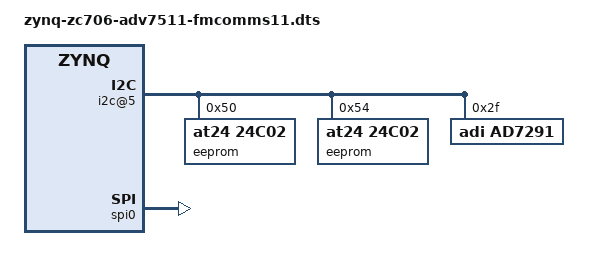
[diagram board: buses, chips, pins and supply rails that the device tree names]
// SPDX-License-Identifier: GPL-2.0
/*
 * Analog Devices AD-FMCOMMS11-EBZ
 * https://wiki.analog.com/resources/tools-software/linux-drivers/iio-transceiver/ad9361
 * https://wiki.analog.com/resources/eval/user-guides/ad-fmcomms11-ebz/hardware/functional_overview
 *
 * hdl_project: <fmcomms11/zc706>
 * board_revision: <>
 *
 * Copyright (C) 2014-2020 Analog Devices Inc.
*/
/dts-v1/;

#include "zynq-zc706.dtsi"
#include "zynq-zc706-adv7511.dtsi"
#include <dt-bindings/jesd204/adxcvr.h>

&i2c_mux {
	i2c@5 { /* HPC IIC */
		#address-cells = <1>;
		#size-cells = <0>;
		reg = <5>;

		eeprom@50 {
			compatible = "at24,24c02";
			reg = <0x50>;
		};

		eeprom@54 {
			compatible = "at24,24c02";
			reg = <0x54>;
		};

		ad7291@2f {
			compatible = "adi,ad7291";
			reg = <0x2f>;
		};
	};
};

&fpga_axi {
	rx_dma: rx-dmac@7c400000 {
		compatible = "adi,axi-dmac-1.00.a";
		reg = <0x7c400000 0x10000>;
		#dma-cells = <1>;
		interrupts = <0 57 IRQ_TYPE_LEVEL_HIGH>;
		clocks = <&clkc 16>;

		adi,channels {
			#size-cells = <0>;
			#address-cells = <1>;

			dma-channel@0 {
				reg = <0>;
				adi,source-bus-width = <64>;
				adi,source-bus-type = <2>;
				adi,destination-bus-width = <64>;
				adi,destination-bus-type = <0>;
			};
		};
	};

	tx_dma: tx-dmac@7c420000 {
		compatible = "adi,axi-dmac-1.00.a";
		reg = <0x7c420000 0x10000>;
		#dma-cells = <1>;
		interrupts = <0 56 IRQ_TYPE_LEVEL_HIGH>;
		clocks = <&clkc 16>;

		adi,channels {
			#size-cells = <0>;
			#address-cells = <1>;

			dma-channel@0 {
				reg = <0>;
				adi,source-bus-width = <128>;
				adi,source-bus-type = <0>;
				adi,destination-bus-width = <128>;
				adi,destination-bus-type = <2>;
			};
		};
	};

	axi_ad9162_core: axi-ad9162-hpc@44a04000 {
		compatible = "adi,axi-ad9162-1.0";
		reg = <0x44a00000 0x4000>;
		dmas = <&tx_dma 0>;
		dma-names = "tx";
		spibus-connected = <&dac0_ad9162>;
		//adi,axi-pl-fifo-enable;
	};

	axi_ad9162_jesd: axi-jesd204-tx@44a90000 {
		compatible = "adi,axi-jesd204-tx-1.0";
		reg = <0x44a90000 0x1000>;

		interrupts = <0 54 IRQ_TYPE_LEVEL_HIGH>;

		clocks = <&clkc 16>, <&tx_adxcvr 1>, <&tx_adxcvr 0>;
		clock-names = "s_axi_aclk", "device_clk", "lane_clk";

		adi,octets-per-frame = <1>;
		adi,frames-per-multiframe = <32>;
		adi,converter-resolution = <16>;
		adi,bits-per-sample = <16>;
		adi,converters-per-device = <2>;
		adi,subclass = <0>;

		#clock-cells = <0>;
		clock-output-names = "jesd_dac_lane_clk";
	};

	axi_ad9625_core: axi-ad9625-hpc@44a10000 {
		compatible = "adi,axi-ad9625-1.0";
		reg = <0x44a10000 0x10000>;
		dmas = <&rx_dma 0>;
		dma-names = "rx";
		spibus-connected = <&adc0_ad9625>;
	};

	axi_ad9625_jesd: axi-jesd204-rx@44aa0000 {
		compatible = "adi,axi-jesd204-rx-1.0";
		reg = <0x44aa0000 0x1000>;

		interrupts = <0 55 IRQ_TYPE_LEVEL_HIGH>;

		clocks = <&clkc 16>, <&rx_adxcvr 1>, <&rx_adxcvr 0>;
		clock-names = "s_axi_aclk", "device_clk", "lane_clk";

		adi,octets-per-frame = <1>;
		adi,frames-per-multiframe = <32>;
		adi,subclass = <0>;

		#clock-cells = <0>;
		clock-output-names = "jesd_adc_lane_clk";
	};

	rx_adxcvr: axi-adxcvr-rx@44a50000 {
		compatible = "adi,axi-adxcvr-1.0";
		reg = <0x44a50000 0x1000>;

		clocks = <&adc_divclk>;
		clock-names = "conv";

		#clock-cells = <1>;
		clock-output-names = "adc_gt_clk", "rx_out_clk";

		adi,sys-clk-select = <XCVR_CPLL>;
		adi,out-clk-select = <XCVR_OUTCLK_PMA>;
		adi,use-lpm-enable;
	};

	tx_adxcvr: axi-adxcvr-tx@44a60000 {
		compatible = "adi,axi-adxcvr-1.0";
		reg = <0x44a60000 0x1000>;
		clocks = <&adc_divclk>;
		clock-names = "conv";

		#clock-cells = <1>;
		clock-output-names = "dac_gt_clk", "tx_out_clk";

		adi,sys-clk-select = <XCVR_QPLL>;
		adi,out-clk-select = <XCVR_OUTCLK_PMA>;
	};
};

&spi0 {
	status = "okay";
	is-decoded-cs = <1>;
	num-cs = <7>;
};

#define fmc_spi spi0

#include "adi-fmcomms11.dtsi"

&adc0_ad9625 {
	irq-gpios = <&gpio0 87 0>;
};

&dac0_ad9162 {
	txen-gpios = <&gpio0 88 0>;
	irq-gpios = <&gpio0 86 0>;
};
